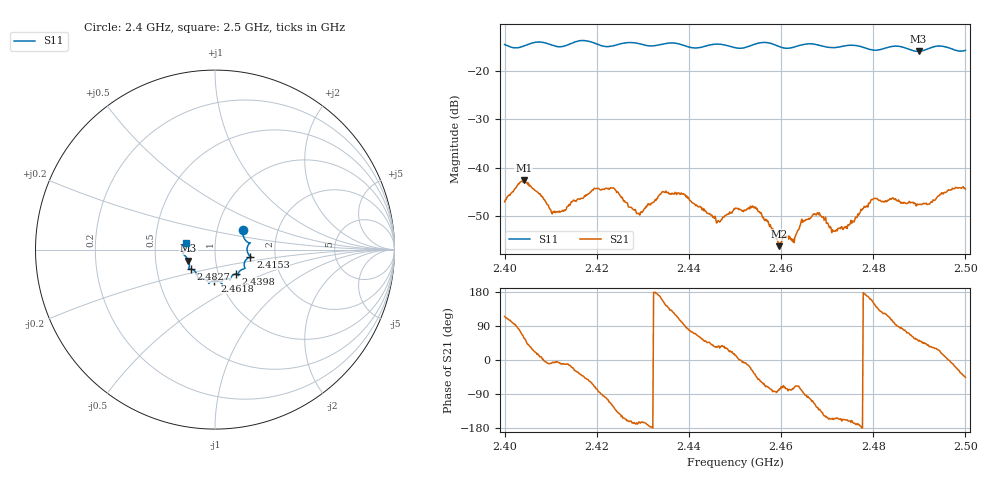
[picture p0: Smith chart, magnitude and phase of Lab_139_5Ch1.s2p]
# Hz S RI R 50
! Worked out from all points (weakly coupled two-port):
!   601 points, 2.4 GHz to 2.5 GHz, reference 50 ohm
!   highest |S21| = -42.59 dB at 2.4042 GHz (marker M1); lowest = -56.2 dB at 2.4595 GHz (marker M2)
!   lowest |S11| = -15.9 dB at 2.4898 GHz (marker M3), VSWR 1.38, Z = 36.9 - j4.62 ohm
!   |S11| at or under -10 dB: start of sweep to end of sweep
!   S12 and S22 are empty: the file has one direction only
!   S11 on the Smith chart (normalised r, x): 2.4 GHz: 1.33, +0.30; 2.4153 GHz: 1.48, -0.12; 2.4398 GHz: 1.21, -0.34; 2.4618 GHz: 0.94, -0.33; 2.4827 GHz: 0.75, -0.17; 2.5 GHz: 0.72, +0.06
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2.4e9  0.1553 0.107  -0.00186 0.00403  0 0  0 0
2.404167e9  0.1761 0.0457  0.00385 0.00635  0 0  0 0
2.410667e9  0.182 0.0191  0.00347 -0.00044  0 0  0 0
2.415333e9  0.1969 -0.0392  0.004 -0.00213  0 0  0 0
2.416667e9  0.2026 -0.0433  0.00372 -0.00307  0 0  0 0
2.423333e9  0.1626 -0.0808  -0.00303 -0.00535  0 0  0 0
2.429167e9  0.1603 -0.1066  -0.00323 -0.000977  0 0  0 0
2.433333e9  0.1297 -0.1338  -0.00502 0.000757  0 0  0 0
2.439833e9  0.1154 -0.1357  0.000702 0.0049  0 0  0 0
2.446333e9  0.0847 -0.1703  0.00228 0.00169  0 0  0 0
2.45e9  0.0655 -0.1622  0.00366 0.000806  0 0  0 0
2.454333e9  0.0357 -0.1869  0.00302 -0.00232  0 0  0 0
2.4595e9  0.0263 -0.1784  0.000262 -0.00152  0 0  0 0
2.461833e9  -0.00343 -0.1729  0.000418 -0.0019  0 0  0 0
2.466667e9  -0.0348 -0.1882  -0.00104 -0.00298  0 0  0 0
2.468333e9  -0.0372 -0.1811  -0.0022 -0.00261  0 0  0 0
2.4715e9  -0.0644 -0.1625  -0.00202 -0.000923  0 0  0 0
2.48e9  -0.11 -0.123  -0.00417 0.00228  0 0  0 0
2.482667e9  -0.1349 -0.1085  -0.00238 0.00391  0 0  0 0
2.483333e9  -0.1401 -0.1083  -0.00195 0.00418  0 0  0 0
2.489833e9  -0.148 -0.061  0.00268 0.00318  0 0  0 0
2.5e9  -0.1591 0.0388  0.00417 -0.00432  0 0  0 0
